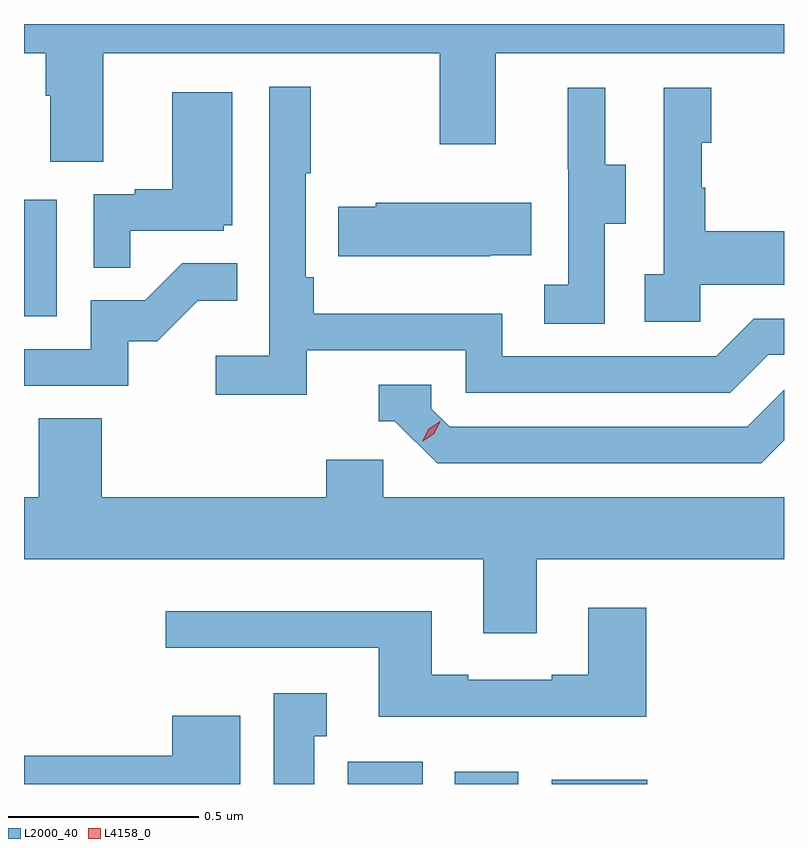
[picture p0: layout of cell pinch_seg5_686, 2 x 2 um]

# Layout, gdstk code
import gdstk
lib = gdstk.Library(unit=1e-6, precision=1e-09)
def R(c, l, rs):  # rectangles x0, y0, x1, y1
    for r in rs: c.add(gdstk.rectangle(r[:2], r[2:], *l))
def P(c, l, *ps):  # polygons
    for p in ps: c.add(gdstk.Polygon(p, *l))
L2000_40 = (2000, 40)
L4158_0 = (4158, 0)

pinch_seg5_686 = lib.new_cell('pinch_seg5_686')
R(pinch_seg5_686, L2000_40, [(1042.484,838.853,1042.681,838.912), (1042.766,838.853,1042.933,838.885), (1043.021,838.853,1043.272,838.864), (1041.632,840.084,1041.718,840.391)])
P(pinch_seg5_686, L2000_40, [(1041.841,840.776),(1042.726,840.776),(1042.726,840.537),(1042.873,840.537),(1042.873,840.776),(1043.632,840.776),(1043.632,840.853),(1041.632,840.853),(1041.632,840.776),(1041.689,840.776),(1041.689,840.664),(1041.701,840.664),(1041.701,840.49),(1041.841,840.49)],
  [(1042.376,839.994),(1042.794,839.994),(1042.794,839.883),(1043.491,839.883),(1043.59,839.982),(1043.632,839.982),(1043.632,840.078),(1043.553,840.078),(1043.454,839.979),(1042.89,839.979),(1042.89,840.091),(1042.394,840.091),(1042.394,840.187),(1042.374,840.187),(1042.374,840.46),(1042.387,840.46),(1042.387,840.688),(1042.278,840.688),(1042.278,839.98),(1042.137,839.98),(1042.137,839.878),(1042.376,839.878)],
  [(1043.16,840.328),(1043.215,840.328),(1043.215,840.483),(1043.161,840.483),(1043.161,840.685),(1043.063,840.685),(1043.063,840.471),(1043.064,840.471),(1043.064,840.167),(1043.001,840.167),(1043.001,840.064),(1043.16,840.064)],
  [(1043.412,840.167),(1043.632,840.167),(1043.632,840.307),(1043.425,840.307),(1043.425,840.422),(1043.415,840.422),(1043.415,840.54),(1043.44,840.54),(1043.44,840.685),(1043.316,840.685),(1043.316,840.194),(1043.265,840.194),(1043.265,840.069),(1043.412,840.069)],
  [(1041.911,840.309),(1042.158,840.309),(1042.158,840.324),(1042.18,840.324),(1042.18,840.673),(1042.022,840.673),(1042.022,840.418),(1041.923,840.418),(1041.923,840.405),(1041.816,840.405),(1041.816,840.211),(1041.911,840.211)],
  [(1042.859,840.245),(1042.967,840.245),(1042.967,840.382),(1042.557,840.382),(1042.557,840.372),(1042.459,840.372),(1042.459,840.242),(1042.859,840.242)],
  [(1041.906,840.018),(1041.982,840.018),(1042.089,840.125),(1042.193,840.125),(1042.193,840.224),(1042.049,840.224),(1041.951,840.126),(1041.807,840.126),(1041.807,839.997),(1041.632,839.997),(1041.632,839.901),(1041.906,839.901)],
  [(1043.632,839.757),(1043.632,839.89),(1043.535,839.793),(1042.752,839.793),(1042.704,839.841),(1042.704,839.904),(1042.565,839.904),(1042.565,839.808),(1042.608,839.808),(1042.719,839.697),(1043.572,839.697)],
  [(1042.981,839.444),(1043.632,839.444),(1043.632,839.608),(1042.578,839.608),(1042.578,839.706),(1042.427,839.706),(1042.427,839.608),(1041.836,839.608),(1041.836,839.816),(1041.671,839.816),(1041.671,839.608),(1041.632,839.608),(1041.632,839.444),(1042.841,839.444),(1042.841,839.25),(1042.981,839.25)],
  [(1043.27,839.317),(1043.117,839.317),(1043.117,839.14),(1043.021,839.14),(1043.021,839.127),(1042.801,839.127),(1042.801,839.14),(1042.705,839.14),(1042.705,839.308),(1042.005,839.308),(1042.005,839.211),(1042.565,839.211),(1042.565,839.03),(1043.27,839.03)],
  [(1042.396,838.979),(1042.429,838.979),(1042.429,839.092),(1042.289,839.092),(1042.289,838.853),(1042.396,838.853)],
  [(1042.201,839.032),(1042.022,839.032),(1042.022,838.928),(1041.632,838.928),(1041.632,838.853),(1042.201,838.853)])
P(pinch_seg5_686, L4158_0, [(1042.68,839.755),(1042.68,839.755),(1042.697,839.788),(1042.728,839.808),(1042.728,839.808),(1042.728,839.807),(1042.712,839.775),(1042.681,839.755)])

lib.write_gds('pinch_seg5_686.gds')
